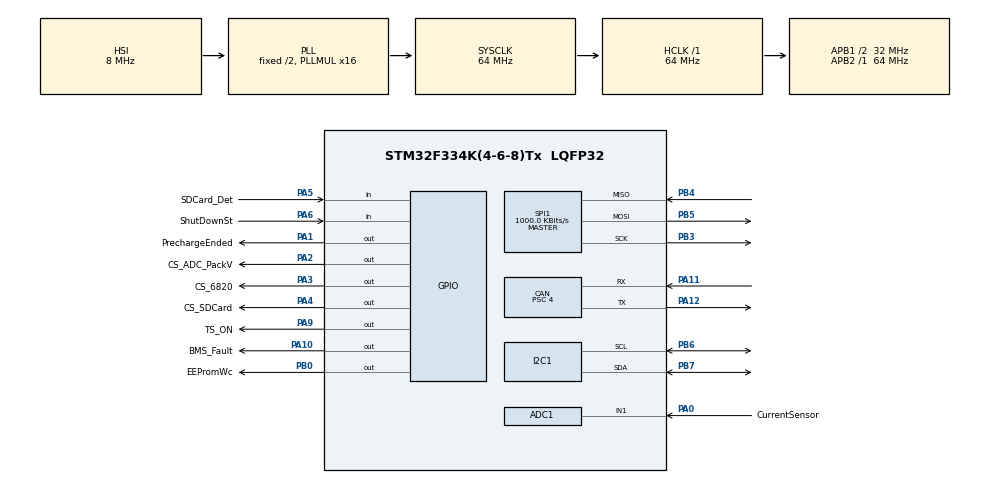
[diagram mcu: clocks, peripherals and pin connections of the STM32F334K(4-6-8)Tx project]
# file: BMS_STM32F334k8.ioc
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ADC1.Channel-4\#ChannelRegularConversion=ADC_CHANNEL_1
ADC1.NbrOfConversionFlag=1
ADC1.Offset-4\#ChannelRegularConversion=0
ADC1.OffsetNumber-4\#ChannelRegularConversion=ADC_OFFSET_NONE
ADC1.Rank-4\#ChannelRegularConversion=1
ADC1.SamplingTime-4\#ChannelRegularConversion=ADC_SAMPLETIME_1CYCLE_5
ADC1.SubFamily=STM32F334x8
ADC1.master=1
CAN.BS1=CAN_BS1_6TQ
CAN.CalculateTimeQuantum=125.0
CAN.Prescaler=4
Mcu.Family=STM32F3
Mcu.Name=STM32F334K(4-6-8)Tx
Mcu.Package=LQFP32
NVIC.PriorityGroup=NVIC_PRIORITYGROUP_4
PA0.GPIO_Label=CurrentSensor
PA0.Mode=IN1-Single-Ended
PA0.Signal=ADC1_IN1
PA1.GPIO_Label=PrechargeEnded
PA1.PinState=GPIO_PIN_RESET
PA1.Signal=GPIO_Output
PA10.GPIO_Label=BMS_Fault
PA10.PinState=GPIO_PIN_RESET
PA10.Signal=GPIO_Output
PA11.GPIO_PuPd=GPIO_PULLUP
PA11.Mode=Master
PA11.Signal=CAN_RX
PA12.GPIO_PuPd=GPIO_PULLUP
PA12.Mode=Master
PA12.Signal=CAN_TX
PA13.Mode=Serial_Wire
PA13.Signal=SYS_JTMS-SWDIO
PA14.Mode=Serial_Wire
PA14.Signal=SYS_JTCK-SWCLK
PA2.GPIO_Label=CS_ADC_PackV
PA2.PinState=GPIO_PIN_SET
PA2.Signal=GPIO_Output
PA3.GPIO_Label=CS_6820
PA3.PinState=GPIO_PIN_SET
PA3.Signal=GPIO_Output
PA4.GPIO_Label=CS_SDCard
PA4.PinState=GPIO_PIN_SET
PA4.Signal=GPIO_Output
PA5.GPIO_Label=SDCard_Det
PA5.GPIO_PuPd=GPIO_PULLUP
PA5.Signal=GPIO_Input
PA6.GPIO_Label=ShutDownSt
PA6.Signal=GPIO_Input
PA9.GPIO_Label=TS_ON
PA9.PinState=GPIO_PIN_RESET
PA9.Signal=GPIO_Output
PB0.GPIO_Label=EEPromWc
PB0.PinState=GPIO_PIN_SET
PB0.Signal=GPIO_Output
PB3.Mode=Full_Duplex_Master
PB3.Signal=SPI1_SCK
PB4.Mode=Full_Duplex_Master
PB4.Signal=SPI1_MISO
PB5.Mode=Full_Duplex_Master
PB5.Signal=SPI1_MOSI
PB6.Mode=I2C
PB6.Signal=I2C1_SCL
PB7.Mode=I2C
PB7.Signal=I2C1_SDA
ProjectManager.HeapSize=0x200
ProjectManager.StackSize=0x400
ProjectManager.TargetToolchain=SW4STM32
RCC.AHBFreq_Value=64000000
RCC.APB1CLKDivider=RCC_HCLK_DIV2
RCC.APB1Freq_Value=32000000
RCC.APB1TimFreq_Value=64000000
RCC.APB2Freq_Value=64000000
RCC.APB2TimFreq_Value=64000000
RCC.CortexFreq_Value=64000000
RCC.HCLKFreq_Value=64000000
RCC.HSE_VALUE=8000000
RCC.HSI_VALUE=8000000
RCC.PLLMUL=RCC_PLL_MUL16
RCC.SYSCLKFreq_VALUE=64000000
RCC.SYSCLKSourceVirtual=RCC_SYSCLKSOURCE_PLLCLK
SPI1.BaudRatePrescaler=SPI_BAUDRATEPRESCALER_64
SPI1.CalculateBaudRate=1000.0 KBits/s
SPI1.DataSize=SPI_DATASIZE_8BIT
SPI1.Direction=SPI_DIRECTION_2LINES
SPI1.Mode=SPI_MODE_MASTER
SPI1.VirtualType=VM_MASTER
board=BMS_STM32F334k8

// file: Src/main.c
/**
  ******************************************************************************
  * @file           : main.c
  * @brief          : Main program body
  ******************************************************************************
  ** This notice applies to any and all portions of this file
  * that are not between comment pairs USER CODE BEGIN and
  * USER CODE END. Other portions of this file, whether
  * inserted by the user or by software development tools
  * are owned by their respective copyright owners.
  *
  * COPYRIGHT(c) 2018 STMicroelectronics
  *
  * Redistribution and use in source and binary forms, with or without modification,
  * are permitted provided that the following conditions are met:
  *   1. Redistributions of source code must retain the above copyright notice,
  *      this list of conditions and the following disclaimer.
  *   2. Redistributions in binary form must reproduce the above copyright notice,
  *      this list of conditions and the following disclaimer in the documentation
  *      and/or other materials provided with the distribution.
  *   3. Neither the name of STMicroelectronics nor the names of its contributors
  *      may be used to endorse or promote products derived from this software
  *      without specific prior written permission.
  *
  * THIS SOFTWARE IS PROVIDED BY THE COPYRIGHT HOLDERS AND CONTRIBUTORS "AS IS"
  * AND ANY EXPRESS OR IMPLIED WARRANTIES, INCLUDING, BUT NOT LIMITED TO, THE
  * IMPLIED WARRANTIES OF MERCHANTABILITY AND FITNESS FOR A PARTICULAR PURPOSE ARE
  * DISCLAIMED. IN NO EVENT SHALL THE COPYRIGHT HOLDER OR CONTRIBUTORS BE LIABLE
  * FOR ANY DIRECT, INDIRECT, INCIDENTAL, SPECIAL, EXEMPLARY, OR CONSEQUENTIAL
  * DAMAGES (INCLUDING, BUT NOT LIMITED TO, PROCUREMENT OF SUBSTITUTE GOODS OR
  * SERVICES; LOSS OF USE, DATA, OR PROFITS; OR BUSINESS INTERRUPTION) HOWEVER
  * CAUSED AND ON ANY THEORY OF LIABILITY, WHETHER IN CONTRACT, STRICT LIABILITY,
  * OR TORT (INCLUDING NEGLIGENCE OR OTHERWISE) ARISING IN ANY WAY OUT OF THE USE
  * OF THIS SOFTWARE, EVEN IF ADVISED OF THE POSSIBILITY OF SUCH DAMAGE.
  *
  ******************************************************************************
  */
#include "main.h"
#include "stm32f3xx_hal.h"

/* USER CODE BEGIN Includes */

#include "measurement.h"
#include "eeprom.h"
#include "can.h"
#include "ltc68xx.h"
#include "ltc1865.h"
#include <string.h>
#include <stdlib.h>
#include <inttypes.h>

#define CAN_ID_PACK 0xAA

#define CAN_ID_STOP 0x04
#define CAN_ID_TOTVOL 0x01
#define CAN_ID_ERROR 0x08
#define CAN_ID_TS_ON 0x03
#define CAN_ID_INIT 0x02
#define CAN_ID_CURRENT 0x05
#define CAN_ID_TEMP 0x06
#define CAN_ID_MAX_TEMP 0x07

#define TOT_IC 12 // number of daisy chain
#define CELL_CH 9
#define NUM_RX_BYT 8u
#define BYT_IN_REG 6u
#define CELL_IN_REG 3u
#define NUM_CV_REG 3u

CAN_FilterConfTypeDef sFilter;
CanRxMsgTypeDef RxHeader;

/* USER CODE END Includes */

ADC_HandleTypeDef hadc1;

CAN_HandleTypeDef hcan;

I2C_HandleTypeDef hi2c1;

SPI_HandleTypeDef hspi1;

/* USER CODE BEGIN PV */
/* Private variables ---------------------------------------------------------*/

 uint8_t cell_data[32];
 uint16_t cell_voltages[108];
 uint16_t cell_temps[108];
 uint16_t parsed_cell;
 uint16_t received_pec;
 uint16_t data_pec;
 uint8_t pec_error=0;
 uint16_t voltages[9];
 int counterCicle = 0;
 float parsed1;
 float parsed2;
 float parsed3;
 float parsed4;
 float parsed5;
 float parsed6;
 float parsed7;
 float parsed8;
 float parsed9;
 float *av_temp1 = 0;
 float *av_temp2 = 0;
 float *av_temp3 = 0;
 uint32_t *adcBuffer;
 float gigi[9];
 uint8_t *totalPack;
 uint32_t Current;
 uint8_t *tractiveVoltage;
 uint16_t *max_vol;
 uint16_t *min_vol;
 float *average_vol;
 uint16_t temp[9];
/* USER CODE END PV */

void SystemClock_Config(void);
static void MX_GPIO_Init(void);
static void MX_CAN_Init(void);
static void MX_SPI1_Init(void);
static void MX_ADC1_Init(void);
static void MX_I2C1_Init(void);

/* USER CODE BEGIN PFP */
/* Private function prototypes -----------------------------------------------*/
int GetMSB(int intValue)
{
   return (intValue & 0xFFFF0000);
}
int GetLSB(int intValue)
{
  return (intValue & 0x0000FFFF);
}

/* USER CODE END PFP */

int main(void)
{

  /* MCU Configuration----------------------------------------------------------*/

  /* Reset of all peripherals, Initializes the Flash interface and the Systick. */
  HAL_Init();

  /* Configure the system clock */
  SystemClock_Config();

  /* Initialize all configured peripherals */
  MX_GPIO_Init();
  MX_CAN_Init();
  MX_SPI1_Init();
  MX_ADC1_Init();
  MX_I2C1_Init();
  /* USER CODE BEGIN 2 */

  /* SETTING CAN */
  sFilter.FilterMode = CAN_FILTERMODE_IDMASK;
  sFilter.FilterMode = CAN_FILTERMODE_IDMASK;
  sFilter.FilterIdLow = 0;
  sFilter.FilterIdHigh = 0;
  sFilter.FilterMaskIdHigh = 0;
  sFilter.FilterMaskIdLow = 0;
  sFilter.FilterFIFOAssignment = CAN_FILTER_FIFO0;
  sFilter.BankNumber = 0;
  sFilter.FilterScale = CAN_FILTERSCALE_16BIT;
  sFilter.FilterActivation = ENABLE;
  HAL_CAN_ConfigFilter(&hcan, &sFilter);

  HAL_CAN_Init(&hcan);

  /* USER CODE END 2 */

  /* Infinite loop */
  /* USER CODE BEGIN WHILE */
  //float offset=Current_Calibration_Offset(hadc1);

  while (1)
  {

  /* USER CODE END WHILE */

  /* USER CODE BEGIN 3 */

 	 // GPIO Logic
 	 //Precharge off
 	// HAL_GPIO_WritePin(GPIOA, GPIO_PIN_1, GPIO_PIN_RESET);
// 	 GPIO_PinState ShutDown_Status;
// 	 ShutDown_Status = HAL_GPIO_ReadPin(GPIOA, GPIO_PIN_6);
// 	 if(ShutDown_Status == GPIO_PIN_SET){
//
// 		 while(totalPack != tractiveVoltage){
// 			 menu_1_read_single_ended(hspi1, tractiveVoltage, totalPack);
// 		 }
// 		 // Monitorare Total voltage e tractive system voltage
// 		 // Quando sono uguali ---> precharge on
// 		 HAL_GPIO_WritePin(GPIOA, GPIO_PIN_1, GPIO_PIN_SET);
// 		 HAL_Delay(1);
// 		 HAL_GPIO_WritePin(GPIOA, GPIO_PIN_1, GPIO_PIN_RESET);
// 	 }
//
// 	 if(ShutDown_Status == GPIO_PIN_RESET){
// 		 HAL_GPIO_WritePin(GPIOA, GPIO_PIN_1, GPIO_PIN_RESET);
// 		 HAL_GPIO_WritePin(GPIOA, GPIO_PIN_9, GPIO_PIN_RESET);
// 		 //CAN SEND TS OFF
// 	 }
//
// 	 //QUANDO ARRIVA IL MESSAGGIO CAN TS ON ----> ATTIVA IL TRACTIVE SYSTEM
//
// 	 //QUANDO ARRIVA IL MESSAGGIO CAN TS OFF ----> DISATTIVA IL TRACTIVE SYSTEM
//
// 	HAL_ADC_Start_DMA(&hadc1, (uint32_t*) adcBuffer, 1); // Call DMA for ADC1
//
// 	HAL_Delay(0.05); // Wait for conversion
// 	HAL_ADC_Stop_DMA(&hadc1);
// 	uint32_t Current = Get_Amps_Value(adcBuffer,(uint16_t)offset);

  	 /* ----- Voltages ------*/
  		  	 ltc6804_adcv(MD_7KHZ_3KHZ, DCP_DISABLED, CELL_CH_ALL, hspi1);
  		  	 HAL_Delay(10);
  			 uint8_t data_counter = 0;
  			 for(uint8_t current_ic = 0; current_ic < TOT_IC; current_ic++){

  					 ltc6804_rdcv_reg(current_ic, TOT_IC, cell_data, hspi1);

  			 	 	 array_voltages(voltages, cell_data);

//  			 	 	char num[2];
//  			 	 	sprintf(num, "\n");
  			 	 //	HAL_UART_Transmit(&huart2, &num, strlen(num), 100);
  			 	 	 for(int i = 0; i < 9; i++){
//  			 	 		 char v[32];
//  			 	 		 sprintf(v, "%d - ",voltages[i]);
//  			 	 		 HAL_UART_Transmit(&huart2, &v, strlen(v), 100);
  			 	 		 cell_voltages[current_ic*9+i] = voltages[i];
  			 	  	 }

  			 }
  			 //char num[8];

//  			 max_min_voltages(cell_voltages, max_vol, min_vol, average_vol);
  	//		 //Can Messages
  	//
  	//		 /* ----- Temperatures -----*/
  	//
  	//		 //odd temp

  			 ltc6804_address_temp_odd(MD_7KHZ_3KHZ, DCP_DISABLED, CELL_CH_ALL, hspi1);
  			 HAL_Delay(1);
  			 ltc6804_adcv_temp(MD_7KHZ_3KHZ, DCP_DISABLED, CELL_CH_ALL, hspi1);
  			 HAL_Delay(10);
  			 for(uint8_t current_ic = 0 ; current_ic < TOT_IC; current_ic++){
  				 ltc6804_rdcv_temp(current_ic, TOT_IC, cell_data, hspi1);
  				 	 array_temp_odd(temp, cell_data);

  				 	 cell_temps[current_ic*9+0] = (uint16_t)(convert_temp(temp[0])*100);
  				 	 cell_temps[current_ic*9+2] = (uint16_t)(convert_temp(temp[2])*100);
  				 	 cell_temps[current_ic*9+4] = (uint16_t)(convert_temp(temp[4])*100);
  				 	 cell_temps[current_ic*9+6] = (uint16_t)(convert_temp(temp[6])*100);
  				 	 cell_temps[current_ic*9+8] = (uint16_t)(convert_temp(temp[8])*100);

  			 }

  			 //
  	//		 //ltc6804_rdcv_temp(...);
  	//		 convert_temp();
  	//
  	//		 //even temp
  			 ltc6804_address_temp_even(MD_7KHZ_3KHZ, DCP_DISABLED, CELL_CH_ALL, hspi1);
  			 HAL_Delay(1);
  			 ltc6804_adcv_temp(MD_7KHZ_3KHZ, DCP_DISABLED, CELL_CH_ALL, hspi1);
  			 HAL_Delay(10);
  			 for(uint8_t current_ic = 0; current_ic < TOT_IC; current_ic++){
  				 ltc6804_rdcv_temp(current_ic, TOT_IC, cell_data, hspi1);
  			 		 array_temp_even(temp, cell_data);

  			 		 cell_temps[current_ic*9+1] = (uint16_t)(convert_temp(temp[1])*100);
  			 		 cell_temps[current_ic*9+3] = (uint16_t)(convert_temp(temp[3])*100);
  			 		 cell_temps[current_ic*9+5] = (uint16_t)(convert_temp(temp[5])*100);
  			 		 cell_temps[current_ic*9+7] = (uint16_t)(convert_temp(temp[7])*100);

  			 }
  			ltc6804_stop_temp(MD_7KHZ_3KHZ, DCP_DISABLED, CELL_CH_ALL, hspi1);
//  			 for(int i = 0; i < 9; i++){
//  					 char v[32];
//  					 sprintf(v, "%x - ",cell_temps[7][i]);
//  					 HAL_UART_Transmit(&huart2, &v, strlen(v), 100);
//  					 }

  	//		 // Controllo Temperatura massima
  	//		 uint16_t *max_temp = 0;
  	//		 if(counterCicle % 3 == 0){
  	//			 max_ave_temp(cell_codes_temp, max_temp, av_temp1);
  	//		 }
  	//		 if(counterCicle % 3 == 1){
  	//		 	 max_ave_temp(cell_codes_temp, max_temp, av_temp2);
  	//		 }
  	//		 if(counterCicle % 3 == 2){
  	//		 	 max_ave_temp(cell_codes_temp, max_temp, av_temp3);
  	//		 }
  	//		 float average = 0;
  	//		 if(counterCicle > 2){
  	//
  	//		 average = (*av_temp1 + *av_temp2 + *av_temp3)/3;
  	//
  	//
  	//
  	//		 if(average < 60 && *max_vol*0.0001f < 4.20 && *min_vol*0.0001f > 2.80){
  	//			 HAL_GPIO_WritePin(GPIOA, GPIO_PIN_10, GPIO_PIN_SET);
  	//		 }
  	//		 }
  	//		 float **converted_temp;
  	//		 for(int i = 0; i < 12; i++){
  	//			 for(int j = 0; j < 9; j++){
  	//				 converted_temp[i][j] = convert_temp(cell_codes_temp[i][j]);
  	//			 }
  	//		 }
  	//
  	//CAN MESSAGES
//  			 uint16_t tot_vol = total_pack_voltage(cell_voltages);

  	//		 CAN_Send(id,(uint8_t)max_vol, 8, hcan);
  	////		 CAN_Send(id,(uint8_t)min_vol, 8, hcan);

//  			 CAN_Send(CAN_ID_PACK,CAN_ID_TOTVOL,tot_vol , 8, hcan);

  			// CAN_Send(CAN_ID_PACK, CAN_ID_ERROR,error, 8, hcan);
//  			 CAN_Send(CAN_ID_PACK, CAN_ID_CURRENT,(uint8_t)Current, 8, hcan);

  			//CAN_Send(CAN_ID_PACK,CAN_ID_INIT,tot_vol , 8, hcan);
  			//CAN_Send(CAN_ID_PACK,CAN_ID_TS_ON,tot_vol , 8, hcan);
  			//CAN_Send(CAN_ID_PACK,CAN_ID_STOP,tot_vol , 8, hcan);

  		//	 CAN_Send(id,(uint8_t)average, 8, hcan);

  counterCicle = counterCicle + 1;
  }
  /* USER CODE END 3 */

}

void SystemClock_Config(void)
{

  RCC_OscInitTypeDef RCC_OscInitStruct;
  RCC_ClkInitTypeDef RCC_ClkInitStruct;
  RCC_PeriphCLKInitTypeDef PeriphClkInit;

    /**Initializes the CPU, AHB and APB busses clocks
    */
  RCC_OscInitStruct.OscillatorType = RCC_OSCILLATORTYPE_HSI;
  RCC_OscInitStruct.HSIState = RCC_HSI_ON;
  RCC_OscInitStruct.HSICalibrationValue = 16;
  RCC_OscInitStruct.PLL.PLLState = RCC_PLL_ON;
  RCC_OscInitStruct.PLL.PLLSource = RCC_PLLSOURCE_HSI;
  RCC_OscInitStruct.PLL.PLLMUL = RCC_PLL_MUL16;
  if (HAL_RCC_OscConfig(&RCC_OscInitStruct) != HAL_OK)
  {
    _Error_Handler(__FILE__, __LINE__);
  }

    /**Initializes the CPU, AHB and APB busses clocks
    */
  RCC_ClkInitStruct.ClockType = RCC_CLOCKTYPE_HCLK|RCC_CLOCKTYPE_SYSCLK
                              |RCC_CLOCKTYPE_PCLK1|RCC_CLOCKTYPE_PCLK2;
  RCC_ClkInitStruct.SYSCLKSource = RCC_SYSCLKSOURCE_PLLCLK;
  RCC_ClkInitStruct.AHBCLKDivider = RCC_SYSCLK_DIV1;
  RCC_ClkInitStruct.APB1CLKDivider = RCC_HCLK_DIV2;
  RCC_ClkInitStruct.APB2CLKDivider = RCC_HCLK_DIV1;

  if (HAL_RCC_ClockConfig(&RCC_ClkInitStruct, FLASH_LATENCY_2) != HAL_OK)
  {
    _Error_Handler(__FILE__, __LINE__);
  }

  PeriphClkInit.PeriphClockSelection = RCC_PERIPHCLK_I2C1|RCC_PERIPHCLK_ADC12;
  PeriphClkInit.Adc12ClockSelection = RCC_ADC12PLLCLK_DIV1;
  PeriphClkInit.I2c1ClockSelection = RCC_I2C1CLKSOURCE_HSI;
  if (HAL_RCCEx_PeriphCLKConfig(&PeriphClkInit) != HAL_OK)
  {
    _Error_Handler(__FILE__, __LINE__);
  }

    /**Configure the Systick interrupt time
    */
  HAL_SYSTICK_Config(HAL_RCC_GetHCLKFreq()/1000);

    /**Configure the Systick
    */
  HAL_SYSTICK_CLKSourceConfig(SYSTICK_CLKSOURCE_HCLK);

  /* SysTick_IRQn interrupt configuration */
  HAL_NVIC_SetPriority(SysTick_IRQn, 0, 0);
}

/* ADC1 init function */
static void MX_ADC1_Init(void)
{

  ADC_MultiModeTypeDef multimode;
  ADC_ChannelConfTypeDef sConfig;

    /**Common config
    */
  hadc1.Instance = ADC1;
  hadc1.Init.ClockPrescaler = ADC_CLOCK_ASYNC_DIV1;
  hadc1.Init.Resolution = ADC_RESOLUTION_12B;
  hadc1.Init.ScanConvMode = ADC_SCAN_DISABLE;
  hadc1.Init.ContinuousConvMode = DISABLE;
  hadc1.Init.DiscontinuousConvMode = DISABLE;
  hadc1.Init.ExternalTrigConvEdge = ADC_EXTERNALTRIGCONVEDGE_NONE;
  hadc1.Init.ExternalTrigConv = ADC_SOFTWARE_START;
  hadc1.Init.DataAlign = ADC_DATAALIGN_RIGHT;
  hadc1.Init.NbrOfConversion = 1;
  hadc1.Init.DMAContinuousRequests = DISABLE;
  hadc1.Init.EOCSelection = ADC_EOC_SINGLE_CONV;
  hadc1.Init.LowPowerAutoWait = DISABLE;
  hadc1.Init.Overrun = ADC_OVR_DATA_OVERWRITTEN;
  if (HAL_ADC_Init(&hadc1) != HAL_OK)
  {
    _Error_Handler(__FILE__, __LINE__);
  }

    /**Configure the ADC multi-mode
    */
  multimode.Mode = ADC_MODE_INDEPENDENT;
  if (HAL_ADCEx_MultiModeConfigChannel(&hadc1, &multimode) != HAL_OK)
  {
    _Error_Handler(__FILE__, __LINE__);
  }

    /**Configure Regular Channel
    */
  sConfig.Channel = ADC_CHANNEL_1;
  sConfig.Rank = ADC_REGULAR_RANK_1;
  sConfig.SingleDiff = ADC_SINGLE_ENDED;
  sConfig.SamplingTime = ADC_SAMPLETIME_1CYCLE_5;
  sConfig.OffsetNumber = ADC_OFFSET_NONE;
  sConfig.Offset = 0;
  if (HAL_ADC_ConfigChannel(&hadc1, &sConfig) != HAL_OK)
  {
    _Error_Handler(__FILE__, __LINE__);
  }

}

/* CAN init function */
static void MX_CAN_Init(void)
{

  hcan.Instance = CAN;
  hcan.Init.Prescaler = 4;
  hcan.Init.Mode = CAN_MODE_NORMAL;
  hcan.Init.SJW = CAN_SJW_1TQ;
  hcan.Init.BS1 = CAN_BS1_6TQ;
  hcan.Init.BS2 = CAN_BS2_1TQ;
  hcan.Init.TTCM = DISABLE;
  hcan.Init.ABOM = DISABLE;
  hcan.Init.AWUM = DISABLE;
  hcan.Init.NART = DISABLE;
  hcan.Init.RFLM = DISABLE;
  hcan.Init.TXFP = DISABLE;
  if (HAL_CAN_Init(&hcan) != HAL_OK)
  {
    _Error_Handler(__FILE__, __LINE__);
  }

}

/* I2C1 init function */
static void MX_I2C1_Init(void)
{

  hi2c1.Instance = I2C1;
  hi2c1.Init.Timing = 0x2000090E;
  hi2c1.Init.OwnAddress1 = 0;
  hi2c1.Init.AddressingMode = I2C_ADDRESSINGMODE_7BIT;
  hi2c1.Init.DualAddressMode = I2C_DUALADDRESS_DISABLE;
  hi2c1.Init.OwnAddress2 = 0;
  hi2c1.Init.OwnAddress2Masks = I2C_OA2_NOMASK;
  hi2c1.Init.GeneralCallMode = I2C_GENERALCALL_DISABLE;
  hi2c1.Init.NoStretchMode = I2C_NOSTRETCH_DISABLE;
  if (HAL_I2C_Init(&hi2c1) != HAL_OK)
  {
    _Error_Handler(__FILE__, __LINE__);
  }

    /**Configure Analogue filter
    */
  if (HAL_I2CEx_ConfigAnalogFilter(&hi2c1, I2C_ANALOGFILTER_ENABLE) != HAL_OK)
  {
    _Error_Handler(__FILE__, __LINE__);
  }

    /**Configure Digital filter
    */
  if (HAL_I2CEx_ConfigDigitalFilter(&hi2c1, 0) != HAL_OK)
  {
    _Error_Handler(__FILE__, __LINE__);
  }

}

/* SPI1 init function */
static void MX_SPI1_Init(void)
{

  /* SPI1 parameter configuration*/
  hspi1.Instance = SPI1;
  hspi1.Init.Mode = SPI_MODE_MASTER;
  hspi1.Init.Direction = SPI_DIRECTION_2LINES;
  hspi1.Init.DataSize = SPI_DATASIZE_8BIT;
  hspi1.Init.CLKPolarity = SPI_POLARITY_LOW;
  hspi1.Init.CLKPhase = SPI_PHASE_1EDGE;
  hspi1.Init.NSS = SPI_NSS_SOFT;
  hspi1.Init.BaudRatePrescaler = SPI_BAUDRATEPRESCALER_64;
  hspi1.Init.FirstBit = SPI_FIRSTBIT_MSB;
  hspi1.Init.TIMode = SPI_TIMODE_DISABLE;
  hspi1.Init.CRCCalculation = SPI_CRCCALCULATION_DISABLE;
  hspi1.Init.CRCPolynomial = 7;
  hspi1.Init.CRCLength = SPI_CRC_LENGTH_DATASIZE;
  hspi1.Init.NSSPMode = SPI_NSS_PULSE_ENABLE;
  if (HAL_SPI_Init(&hspi1) != HAL_OK)
  {
    _Error_Handler(__FILE__, __LINE__);
  }

}

/** Configure pins as
        * Analog
        * Input
        * Output
        * EVENT_OUT
        * EXTI
*/
static void MX_GPIO_Init(void)
{

  GPIO_InitTypeDef GPIO_InitStruct;

  /* GPIO Ports Clock Enable */
  __HAL_RCC_GPIOA_CLK_ENABLE();
  __HAL_RCC_GPIOB_CLK_ENABLE();

  /*Configure GPIO pin Output Level */
  HAL_GPIO_WritePin(GPIOA, PrechargeEnded_Pin|CS_6820_Pin|CS_SDCard_Pin|TS_ON_Pin
                          |BMS_Fault_Pin, GPIO_PIN_SET);

  /*Configure GPIO pin Output Level */
  HAL_GPIO_WritePin(CS_ADC_PackV_GPIO_Port, CS_ADC_PackV_Pin, GPIO_PIN_RESET);

  /*Configure GPIO pin Output Level */
  HAL_GPIO_WritePin(EEPromWc_GPIO_Port, EEPromWc_Pin, GPIO_PIN_SET);

  /*Configure GPIO pins : PrechargeEnded_Pin CS_ADC_PackV_Pin CS_6820_Pin CS_SDCard_Pin
                           TS_ON_Pin BMS_Fault_Pin */
  GPIO_InitStruct.Pin = PrechargeEnded_Pin|CS_ADC_PackV_Pin|CS_6820_Pin|CS_SDCard_Pin
                          |TS_ON_Pin|BMS_Fault_Pin;
  GPIO_InitStruct.Mode = GPIO_MODE_OUTPUT_PP;
  GPIO_InitStruct.Pull = GPIO_NOPULL;
  GPIO_InitStruct.Speed = GPIO_SPEED_FREQ_LOW;
  HAL_GPIO_Init(GPIOA, &GPIO_InitStruct);

  /*Configure GPIO pin : SDCard_Det_Pin */
  GPIO_InitStruct.Pin = SDCard_Det_Pin;
  GPIO_InitStruct.Mode = GPIO_MODE_INPUT;
  GPIO_InitStruct.Pull = GPIO_PULLUP;
  HAL_GPIO_Init(SDCard_Det_GPIO_Port, &GPIO_InitStruct);

  /*Configure GPIO pin : ShutDownSt_Pin */
  GPIO_InitStruct.Pin = ShutDownSt_Pin;
  GPIO_InitStruct.Mode = GPIO_MODE_INPUT;
  GPIO_InitStruct.Pull = GPIO_NOPULL;
  HAL_GPIO_Init(ShutDownSt_GPIO_Port, &GPIO_InitStruct);

  /*Configure GPIO pin : EEPromWc_Pin */
  GPIO_InitStruct.Pin = EEPromWc_Pin;
  GPIO_InitStruct.Mode = GPIO_MODE_OUTPUT_PP;
  GPIO_InitStruct.Pull = GPIO_NOPULL;
  GPIO_InitStruct.Speed = GPIO_SPEED_FREQ_LOW;
  HAL_GPIO_Init(EEPromWc_GPIO_Port, &GPIO_InitStruct);

}

/* USER CODE BEGIN 4 */
//
//
//int CAN_Receive(uint8_t *DataRx, int size){
//	=======NON VA
//
//	if (HAL_CAN_GetRxFifoFillLevel(&hcan, CAN_FIFO0) != 0){
//		HAL_CAN_GetRxMessage(&hcan, CAN_FIFO0, &RxHeader, DataRx);
//	}
//
//	int id = RxHeader.StdId;
//
//	return id;
//}
//*/
/* USER CODE END 4 */

void _Error_Handler(char *file, int line)
{
  while(1)
  {
  }
}

/************************ (C) COPYRIGHT STMicroelectronics *****END OF FILE****/
